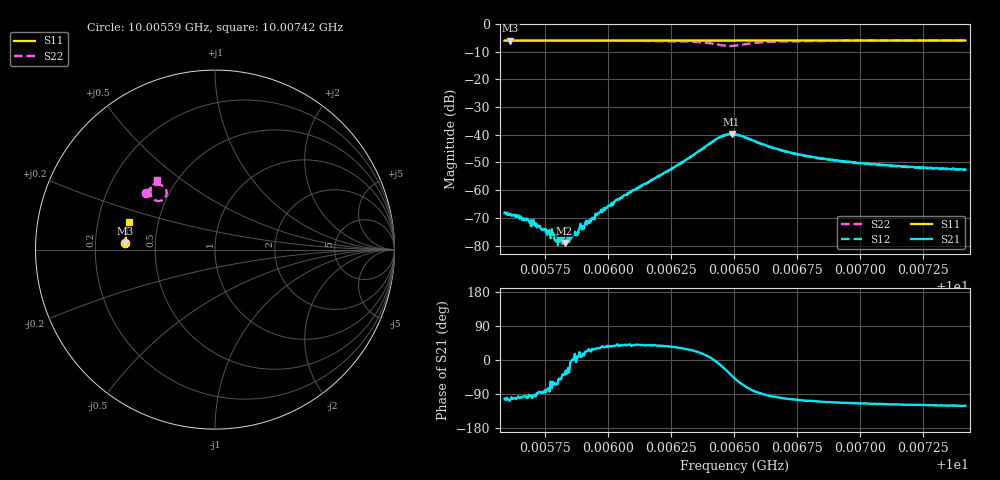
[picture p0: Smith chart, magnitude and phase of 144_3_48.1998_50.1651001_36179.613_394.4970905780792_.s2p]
#  HZ  S  RI  R  50.00
! Rohde & Schwarz Vector Network Analyzer
! Rohde-Schwarz,ZNB20-2Port,1311601062101988,3.16
! Created: UTC 3/20/2024, 11:42:33 AM
! freq[Hz]  re:S11  im:S11  re:S21  im:S21  re:S12  im:S12  re:S22  im:S22
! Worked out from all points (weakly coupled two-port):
!   401 points, 10.00559 GHz to 10.00742 GHz, reference 50 ohm
!   highest |S21| = -39.70 dB at 10.00649 GHz (marker M1); lowest = -79.1 dB at 10.00583 GHz (marker M2)
!   lowest |S11| = -6.0 dB at 10.00561 GHz (marker M3), VSWR 3.01, Z = 16.7 + j1.66 ohm
!   |S11| at or under -10 dB: nowhere
!   |S22| runs from -8.0 to -6.0 dB; largest |S21 - S12| = 0.00061
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1.000559e10  -0.4996 0.0359  -8.24e-05 -0.000384  -5.84e-05 -0.000368  -0.386 0.3128
1.0005613e10  -0.4993 0.0374  -9.89e-05 -0.000359  -5.95e-05 -0.000349  -0.3852 0.3142
1.0005686e10  -0.4991 0.0423  -1.05e-05 -0.000281  -5.13e-06 -0.000258  -0.3816 0.3186
1.0005723e10  -0.4992 0.0447  1.01e-05 -0.000222  2.26e-05 -0.000226  -0.38 0.321
1.0005773e10  -0.4989 0.0478  8.67e-05 -0.000134  5.72e-05 -0.000123  -0.3773 0.324
1.0005787e10  -0.4989 0.0488  6.39e-05 -0.000138  5.77e-05 -0.00012  -0.3767 0.3249
1.0005791e10  -0.4989 0.0491  7.67e-05 -0.000138  6.98e-05 -9.96e-05  -0.3763 0.3253
1.00058e10  -0.4988 0.0496  6.34e-05 -0.000126  5.4e-05 -8.13e-05  -0.376 0.3257
1.0005823e10  -0.4985 0.0512  9.64e-05 -7.3e-05  0.000119 -7.02e-05  -0.3746 0.3271
1.0005828e10  -0.4987 0.0514  8.61e-05 -7.02e-05  0.000125 -6.32e-05  -0.3743 0.3275
1.0005855e10  -0.4987 0.053  0.000145 -5.09e-06  0.000152 -1.16e-05  -0.3729 0.3292
1.0005896e10  -0.4983 0.0559  0.000203 3.29e-05  0.00017 7.15e-05  -0.3705 0.332
1.0005942e10  -0.498 0.0589  0.000276 0.000147  0.000254 0.000161  -0.3676 0.3351
1.0006052e10  -0.4973 0.0658  0.000555 0.000463  0.000546 0.000491  -0.3598 0.3426
1.0006202e10  -0.4962 0.0758  0.00142 0.00111  0.00136 0.00113  -0.3439 0.354
1.0006435e10  -0.4934 0.0907  0.00859 -0.00109  0.00845 -0.000613  -0.271 0.3282
1.000649e10  -0.4929 0.0935  0.00784 -0.00676  0.00805 -0.00618  -0.2883 0.2787
1.0006504e10  -0.4927 0.0943  0.00667 -0.00778  0.00695 -0.00726  -0.301 0.2725
1.0006678e10  -0.4916 0.1053  -0.000854 -0.00536  -0.000591 -0.00531  -0.3599 0.3201
1.000681e10  -0.4901 0.1138  -0.00123 -0.0038  -0.00107 -0.00378  -0.3542 0.3423
1.0007116e10  -0.4858 0.1332  -0.00129 -0.0025  -0.00111 -0.00248  -0.337 0.368
1.0007418e10  -0.4812 0.152  -0.0012 -0.00202  -0.00111 -0.00204  -0.321 0.3853
